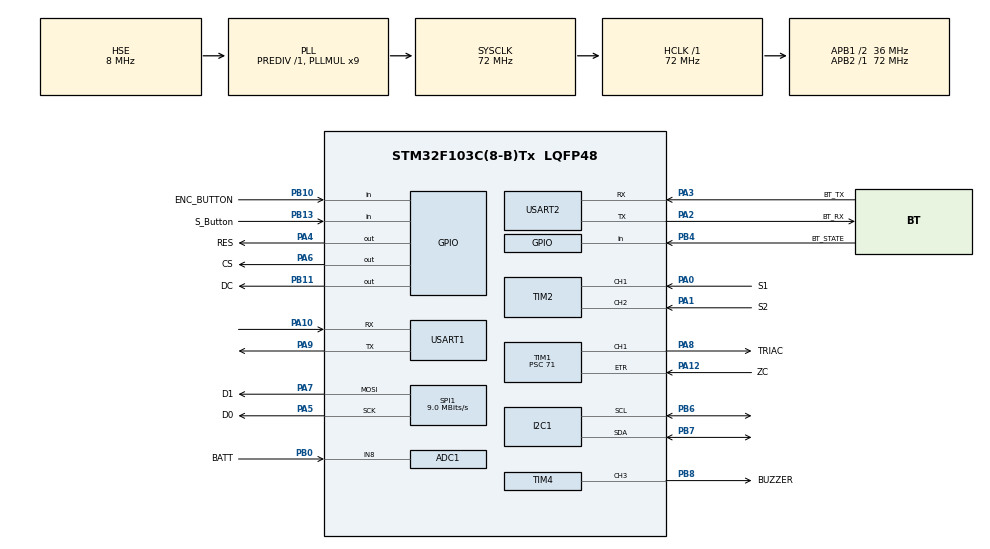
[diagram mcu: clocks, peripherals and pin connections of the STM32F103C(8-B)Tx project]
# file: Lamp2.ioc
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ADC1.Channel-0\#ChannelRegularConversion=ADC_CHANNEL_8
ADC1.NbrOfConversionFlag=1
ADC1.Rank-0\#ChannelRegularConversion=1
ADC1.SamplingTime-0\#ChannelRegularConversion=ADC_SAMPLETIME_239CYCLES_5
ADC1.master=1
Dma.Request0=SPI1_TX
Dma.Request1=USART2_RX
Dma.Request2=USART2_TX
Dma.SPI1_TX.0.Direction=DMA_MEMORY_TO_PERIPH
Dma.SPI1_TX.0.Instance=DMA1_Channel3
Dma.SPI1_TX.0.MemDataAlignment=DMA_MDATAALIGN_BYTE
Dma.SPI1_TX.0.MemInc=DMA_MINC_ENABLE
Dma.SPI1_TX.0.Mode=DMA_NORMAL
Dma.SPI1_TX.0.PeriphDataAlignment=DMA_PDATAALIGN_BYTE
Dma.SPI1_TX.0.PeriphInc=DMA_PINC_DISABLE
Dma.SPI1_TX.0.Priority=DMA_PRIORITY_LOW
Dma.USART2_RX.1.Direction=DMA_PERIPH_TO_MEMORY
Dma.USART2_RX.1.Instance=DMA1_Channel6
Dma.USART2_RX.1.MemDataAlignment=DMA_MDATAALIGN_BYTE
Dma.USART2_RX.1.MemInc=DMA_MINC_ENABLE
Dma.USART2_RX.1.Mode=DMA_NORMAL
Dma.USART2_RX.1.PeriphDataAlignment=DMA_PDATAALIGN_BYTE
Dma.USART2_RX.1.PeriphInc=DMA_PINC_DISABLE
Dma.USART2_RX.1.Priority=DMA_PRIORITY_MEDIUM
Dma.USART2_TX.2.Direction=DMA_MEMORY_TO_PERIPH
Dma.USART2_TX.2.Instance=DMA1_Channel7
Dma.USART2_TX.2.MemDataAlignment=DMA_MDATAALIGN_BYTE
Dma.USART2_TX.2.MemInc=DMA_MINC_ENABLE
Dma.USART2_TX.2.Mode=DMA_NORMAL
Dma.USART2_TX.2.PeriphDataAlignment=DMA_PDATAALIGN_BYTE
Dma.USART2_TX.2.PeriphInc=DMA_PINC_DISABLE
Dma.USART2_TX.2.Priority=DMA_PRIORITY_LOW
FREERTOS.Tasks01=GUITask,0,256,StartGUITask,Default,NULL,Dynamic,NULL,NULL;MusicTask,2,128,StartMusicTask,Default,NULL,Dynamic,NULL,NULL;AlarmTask,0,128,StartAlarmTask,Default,NULL,Dynamic,NULL,NULL;CommTask,-2,600,StartCommTask,Default,NULL,Dynamic,NULL,NULL;InputTask,1,128,StartInputTask,Default,NULL,Dynamic,NULL,NULL;FaderTask,3,128,StartFaderTask,Default,NULL,Dynamic,NULL,NULL
FREERTOS.configTOTAL_HEAP_SIZE=7000
FREERTOS.configUSE_NEWLIB_REENTRANT=1
Mcu.Family=STM32F1
Mcu.Name=STM32F103C(8-B)Tx
Mcu.Package=LQFP48
NVIC.DMA1_Channel3_IRQn=true\:5\:0\:false\:false\:true\:true\:false\:true\:true
NVIC.DMA1_Channel6_IRQn=true\:5\:0\:false\:false\:true\:true\:false\:true\:true
NVIC.DMA1_Channel7_IRQn=true\:5\:0\:false\:false\:true\:true\:false\:true\:true
NVIC.PriorityGroup=NVIC_PRIORITYGROUP_4
NVIC.TIM3_IRQn=true\:15\:0\:false\:false\:true\:false\:false\:true\:true
NVIC.TimeBase=TIM3_IRQn
NVIC.TimeBaseIP=TIM3
NVIC.USART2_IRQn=true\:5\:0\:false\:false\:true\:true\:false\:true\:true
PA0-WKUP.GPIO_Label=S1
PA0-WKUP.Signal=S_TIM2_CH1_ETR
PA1.GPIO_Label=S2
PA1.Signal=S_TIM2_CH2
PA10.Mode=Asynchronous
PA10.Signal=USART1_RX
PA12.GPIO_Label=ZC
PA12.Signal=S_TIM1_ETR
PA2.GPIO_Label=BT_RX
PA2.Mode=Asynchronous
PA2.Signal=USART2_TX
PA3.GPIO_Label=BT_TX
PA3.Mode=Asynchronous
PA3.Signal=USART2_RX
PA4.GPIO_Label=RES
PA4.Signal=GPIO_Output
PA5.GPIO_Label=D0
PA5.Mode=TX_Only_Simplex_Unidirect_Master
PA5.Signal=SPI1_SCK
PA6.GPIO_Label=CS
PA6.Signal=GPIO_Output
PA7.GPIO_Label=D1
PA7.Mode=TX_Only_Simplex_Unidirect_Master
PA7.Signal=SPI1_MOSI
PA8.GPIO_Label=TRIAC
PA8.GPIO_Speed=GPIO_SPEED_FREQ_HIGH
PA8.Signal=S_TIM1_CH1
PA9.Mode=Asynchronous
PA9.Signal=USART1_TX
PB0.GPIO_Label=BATT
PB0.Signal=ADCx_IN8
PB10.GPIO_Label=ENC_BUTTON
PB10.Signal=GPIO_Input
PB11.GPIO_Label=DC
PB11.Signal=GPIO_Output
PB13.GPIO_Label=S_Button
PB13.GPIO_PuPd=GPIO_PULLDOWN
PB13.Signal=GPIO_Input
PB4.GPIO_Label=BT_STATE
PB4.GPIO_PuPd=GPIO_PULLDOWN
PB4.Signal=GPIO_Input
PB6.Mode=I2C
PB6.Signal=I2C1_SCL
PB7.Mode=I2C
PB7.Signal=I2C1_SDA
PB8.GPIO_Label=BUZZER
PB8.Signal=S_TIM4_CH3
PD0-OSC_IN.Mode=HSE-External-Oscillator
PD0-OSC_IN.Signal=RCC_OSC_IN
PD1-OSC_OUT.Mode=HSE-External-Oscillator
PD1-OSC_OUT.Signal=RCC_OSC_OUT
ProjectManager.HeapSize=0x800
ProjectManager.StackSize=0x800
ProjectManager.TargetToolchain=STM32CubeIDE
RCC.ADCPresc=RCC_ADCPCLK2_DIV6
RCC.AHBFreq_Value=72000000
RCC.APB1CLKDivider=RCC_HCLK_DIV2
RCC.APB1Freq_Value=36000000
RCC.APB1TimFreq_Value=72000000
RCC.APB2Freq_Value=72000000
RCC.APB2TimFreq_Value=72000000
RCC.HCLKFreq_Value=72000000
RCC.PLLMUL=RCC_PLL_MUL9
RCC.PLLSourceVirtual=RCC_PLLSOURCE_HSE
RCC.SYSCLKFreq_VALUE=72000000
RCC.SYSCLKSource=RCC_SYSCLKSOURCE_PLLCLK
RCC.USBFreq_Value=72000000
SH.ADCx_IN8.0=ADC1_IN8,IN8
SH.S_TIM1_CH1.0=TIM1_CH1,PWM Generation1 CH1
SH.S_TIM1_ETR.0=TIM1_ETR,TriggerSource_ETR
SH.S_TIM2_CH1_ETR.0=TIM2_CH1,Encoder_Interface
SH.S_TIM2_CH2.0=TIM2_CH2,Encoder_Interface
SH.S_TIM4_CH3.0=TIM4_CH3,PWM Generation3 CH3
SPI1.BaudRatePrescaler=SPI_BAUDRATEPRESCALER_8
SPI1.CalculateBaudRate=9.0 MBits/s
SPI1.Direction=SPI_DIRECTION_2LINES
SPI1.Mode=SPI_MODE_MASTER
SPI1.VirtualType=VM_MASTER
TIM1.AutoReloadPreload=TIM_AUTORELOAD_PRELOAD_ENABLE
TIM1.Channel-PWM\ Generation1\ CH1=TIM_CHANNEL_1
TIM1.OCMode_PWM-PWM\ Generation1\ CH1=TIM_OCMODE_PWM2
TIM1.Period=9500
TIM1.Prescaler=71
TIM1.Pulse-PWM\ Generation1\ CH1=9000
TIM1.Slave_TriggerFilter=15
TIM1.Slave_TriggerPolarity=TIM_TRIGGERPOLARITY_NONINVERTED
TIM2.EncoderMode=TIM_ENCODERMODE_TI12
TIM2.IC1Filter=10
TIM4.Channel-PWM\ Generation3\ CH3=TIM_CHANNEL_3
TIM4.Period=1000
TIM4.Prescaler=71
USART1.VirtualMode=VM_ASYNC
USART2.VirtualMode=VM_ASYNC
VP_FREERTOS_VS_CMSIS_V1.Mode=CMSIS_V1
VP_SYS_VS_ND.Mode=No_Debug
VP_SYS_VS_tim3.Mode=TIM3
VP_TIM1_VS_ClockSourceINT.Mode=Internal
VP_TIM1_VS_ControllerModeTrigger.Mode=Trigger Mode
VP_TIM1_VS_OPM.Mode=OPM_bit
VP_TIM4_VS_ClockSourceINT.Mode=Internal
board=custom

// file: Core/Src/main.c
/* USER CODE BEGIN Header */
/**
 ******************************************************************************
 * @file           : main.c
 * @brief          : Main program body
 ******************************************************************************
 * @attention
 *
 * Copyright (c) 2025 STMicroelectronics.
 * All rights reserved.
 *
 * This software is licensed under terms that can be found in the LICENSE file
 * in the root directory of this software component.
 * If no LICENSE file comes with this software, it is provided AS-IS.
 *
 ******************************************************************************
 */
/* USER CODE END Header */
#include "main.h"
#include "cmsis_os.h"
#include "adc.h"
#include "dma.h"
#include "i2c.h"
#include "spi.h"
#include "tim.h"
#include "usart.h"
#include "gpio.h"

/* USER CODE BEGIN Includes */
#include <stdio.h>
#include "app_state.h"
#include "ds3231.h"
#include "dimmer.h"
/* USER CODE END Includes */

void SystemClock_Config(void);
void MX_FREERTOS_Init(void);

/* USER CODE BEGIN 0 */

int _write(int file, char *ptr, int len) {
	HAL_UART_Transmit(&huart1, (uint8_t*) ptr, len, 1000);
	return len;
}

/* USER CODE END 0 */

int main(void)
{

  /* MCU Configuration--------------------------------------------------------*/

  /* Reset of all peripherals, Initializes the Flash interface and the Systick. */
  HAL_Init();

  /* Configure the system clock */
  SystemClock_Config();

  /* Initialize all configured peripherals */
  MX_GPIO_Init();
  MX_DMA_Init();
  MX_I2C1_Init();
  MX_SPI1_Init();
  MX_TIM1_Init();
  MX_TIM2_Init();
  MX_TIM4_Init();
  MX_USART2_UART_Init();
  MX_ADC1_Init();
  MX_USART1_UART_Init();
  /* USER CODE BEGIN 2 */
	printf("System Reset!\r\n");
	printf("Debug UART initialized at 115200 baud.\r\n");
	AppState_Init();
	Dimmer_Init();
	Dimmer_SetValue(AppState.brightness);
	if (DS3231_Init(&hi2c1)) {
		DS3231_GetTime((RTC_Time_t*) &AppState.now);
	}

  /* USER CODE END 2 */

  /* Call init function for freertos objects (in cmsis_os2.c) */
  MX_FREERTOS_Init();

  /* Start scheduler */
  osKernelStart();

  /* We should never get here as control is now taken by the scheduler */

  /* Infinite loop */
	while (1) {

	}
}

void SystemClock_Config(void)
{
  RCC_OscInitTypeDef RCC_OscInitStruct = {0};
  RCC_ClkInitTypeDef RCC_ClkInitStruct = {0};
  RCC_PeriphCLKInitTypeDef PeriphClkInit = {0};

  /** Initializes the RCC Oscillators according to the specified parameters
  * in the RCC_OscInitTypeDef structure.
  */
  RCC_OscInitStruct.OscillatorType = RCC_OSCILLATORTYPE_HSE;
  RCC_OscInitStruct.HSEState = RCC_HSE_ON;
  RCC_OscInitStruct.HSEPredivValue = RCC_HSE_PREDIV_DIV1;
  RCC_OscInitStruct.HSIState = RCC_HSI_ON;
  RCC_OscInitStruct.PLL.PLLState = RCC_PLL_ON;
  RCC_OscInitStruct.PLL.PLLSource = RCC_PLLSOURCE_HSE;
  RCC_OscInitStruct.PLL.PLLMUL = RCC_PLL_MUL9;
  if (HAL_RCC_OscConfig(&RCC_OscInitStruct) != HAL_OK)
  {
    Error_Handler();
  }

  /** Initializes the CPU, AHB and APB buses clocks
  */
  RCC_ClkInitStruct.ClockType = RCC_CLOCKTYPE_HCLK|RCC_CLOCKTYPE_SYSCLK
                              |RCC_CLOCKTYPE_PCLK1|RCC_CLOCKTYPE_PCLK2;
  RCC_ClkInitStruct.SYSCLKSource = RCC_SYSCLKSOURCE_PLLCLK;
  RCC_ClkInitStruct.AHBCLKDivider = RCC_SYSCLK_DIV1;
  RCC_ClkInitStruct.APB1CLKDivider = RCC_HCLK_DIV2;
  RCC_ClkInitStruct.APB2CLKDivider = RCC_HCLK_DIV1;

  if (HAL_RCC_ClockConfig(&RCC_ClkInitStruct, FLASH_LATENCY_2) != HAL_OK)
  {
    Error_Handler();
  }
  PeriphClkInit.PeriphClockSelection = RCC_PERIPHCLK_ADC;
  PeriphClkInit.AdcClockSelection = RCC_ADCPCLK2_DIV6;
  if (HAL_RCCEx_PeriphCLKConfig(&PeriphClkInit) != HAL_OK)
  {
    Error_Handler();
  }
}

void HAL_TIM_PeriodElapsedCallback(TIM_HandleTypeDef *htim)
{
  if (htim->Instance == TIM3)
  {
    HAL_IncTick();
  }
}

void Error_Handler(void)
{
	__disable_irq();
	while (1) {
	}
}

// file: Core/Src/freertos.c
/* USER CODE BEGIN Header */
/**
 ******************************************************************************
 * File Name          : freertos.c
 * Description        : Code for freertos applications
 ******************************************************************************
 * @attention
 *
 * Copyright (c) 2025 STMicroelectronics.
 * All rights reserved.
 *
 * This software is licensed under terms that can be found in the LICENSE file
 * in the root directory of this software component.
 * If no LICENSE file comes with this software, it is provided AS-IS.
 *
 ******************************************************************************
 */
/* USER CODE END Header */

#include "FreeRTOS.h"
#include "task.h"
#include "main.h"
#include "cmsis_os.h"

/* USER CODE BEGIN Includes */
#include <stdlib.h>
#include <stdbool.h>
#include "tim.h"
#include "gui.h"
#include "app_state.h"
#include "command_parser.h"
#include "bluetooth.h"
#include "ds3231.h"
#include "music.h"
/* USER CODE END Includes */

/* USER CODE BEGIN PTD */
extern TIM_HandleTypeDef htim2;
/* USER CODE END PTD */

/* USER CODE BEGIN PD */
#define DEBOUNCE_DELAY 100
/* USER CODE END PD */

/* USER CODE BEGIN Variables */
static uint32_t last_counter_value = 0;
static uint32_t last_btn_press_time = 0;
/* USER CODE END Variables */
osThreadId GUITaskHandle;
osThreadId MusicTaskHandle;
osThreadId AlarmTaskHandle;
osThreadId CommTaskHandle;
osThreadId InputTaskHandle;
osThreadId FaderTaskHandle;

void StartGUITask(void const *argument);
void StartMusicTask(void const *argument);
void StartAlarmTask(void const *argument);
void StartCommTask(void const *argument);
void StartInputTask(void const *argument);
void StartFaderTask(void const *argument);

void MX_FREERTOS_Init(void); /* (MISRA C 2004 rule 8.1) */

/* GetIdleTaskMemory prototype (linked to static allocation support) */
void vApplicationGetIdleTaskMemory(StaticTask_t **ppxIdleTaskTCBBuffer,
		StackType_t **ppxIdleTaskStackBuffer, uint32_t *pulIdleTaskStackSize);

/* USER CODE BEGIN GET_IDLE_TASK_MEMORY */
static StaticTask_t xIdleTaskTCBBuffer;
static StackType_t xIdleStack[configMINIMAL_STACK_SIZE];

void vApplicationGetIdleTaskMemory(StaticTask_t **ppxIdleTaskTCBBuffer,
		StackType_t **ppxIdleTaskStackBuffer, uint32_t *pulIdleTaskStackSize) {
	*ppxIdleTaskTCBBuffer = &xIdleTaskTCBBuffer;
	*ppxIdleTaskStackBuffer = &xIdleStack[0];
	*pulIdleTaskStackSize = configMINIMAL_STACK_SIZE;
	/* place for user code */
}
/* USER CODE END GET_IDLE_TASK_MEMORY */

void MX_FREERTOS_Init(void) {

	/* Create the thread(s) */
	/* definition and creation of GUITask */
	osThreadDef(GUITask, StartGUITask, osPriorityNormal, 0, 256);
	GUITaskHandle = osThreadCreate(osThread(GUITask), NULL);

	/* definition and creation of MusicTask */
	osThreadDef(MusicTask, StartMusicTask, osPriorityHigh, 0, 128);
	MusicTaskHandle = osThreadCreate(osThread(MusicTask), NULL);

	/* definition and creation of AlarmTask */
	osThreadDef(AlarmTask, StartAlarmTask, osPriorityNormal, 0, 128);
	AlarmTaskHandle = osThreadCreate(osThread(AlarmTask), NULL);

	/* definition and creation of CommTask */
	osThreadDef(CommTask, StartCommTask, osPriorityLow, 0, 600);
	CommTaskHandle = osThreadCreate(osThread(CommTask), NULL);

	/* definition and creation of InputTask */
	osThreadDef(InputTask, StartInputTask, osPriorityAboveNormal, 0, 128);
	InputTaskHandle = osThreadCreate(osThread(InputTask), NULL);

	/* definition and creation of FaderTask */
	osThreadDef(FaderTask, StartFaderTask, osPriorityRealtime, 0, 128);
	FaderTaskHandle = osThreadCreate(osThread(FaderTask), NULL);

}

void StartGUITask(void const *argument) {
	/* USER CODE BEGIN StartGUITask */
	GUI_Init();
	/* Infinite loop */
	for (;;) {
		GUI_Update();
		osDelay(100);
	}
	/* Infinite loop */
	/* USER CODE END StartGUITask */
}

void StartMusicTask(void const *argument) {
	/* USER CODE BEGIN StartMusicTask */
	osDelay(500);
	Music_Init();
	/* Infinite loop */
	for (;;) {
		if (AppState.is_alarm_ringing) {
			bool enable_fade = !AppState.is_preview_mode;
			Music_PlayAlarmLoop(enable_fade);
		} else {
			Music_Stop();
			osDelay(200);
		}
	}
	/* USER CODE END StartMusicTask */
}

void StartAlarmTask(void const *argument) {
	/* USER CODE BEGIN StartAlarmTask */
	osDelay(100);
	uint8_t batt_check_counter = 0;
	/* Infinite loop */
	for (;;) {
		DS3231_GetTime((RTC_Time_t*) &AppState.now);
		AppState_CheckAlarms();
		batt_check_counter++;
		if (batt_check_counter >= 5) {
			AppState_UpdateBatteryVoltage();
			batt_check_counter = 0;
		}
		osDelay(200);
	}
	/* USER CODE END StartAlarmTask */
}

void StartCommTask(void const *argument) {
	/* USER CODE BEGIN StartCommTask */
	/* Infinite loop */
	Bluetooth_Init();

	bool is_bt_connected = false;
	uint32_t last_pulse_width = 200;
	uint32_t safety_margin = 100;

	uint32_t high_start_time = 0;
	bool synced = false;

	for (;;) {
		if (bt_command_received) {
			bt_command_received = 0;
			CLI_ProcessCommand(bt_command_buffer);
			memset(bt_command_buffer, 0, sizeof(bt_command_buffer));
		}

		bool pin_high = (HAL_GPIO_ReadPin(GPIOB, GPIO_PIN_4) == GPIO_PIN_SET);
		uint32_t now = HAL_GetTick();

		if (pin_high) {
			if (high_start_time == 0) {
				high_start_time = now;
			} else {
				uint32_t duration = now - high_start_time;
				uint32_t trigger_limit = last_pulse_width + safety_margin;

				if (duration > trigger_limit) {
					if (!is_bt_connected) {
						if (synced || duration > 1000) {
							is_bt_connected = true;
							osDelay(80);
							char auto_cmd[] = "hello";
							CLI_ProcessCommand(auto_cmd);
						}
					}
				}
			}
		} else {
			if (!synced)
				synced = true;

			if (high_start_time != 0) {
				uint32_t measured_len = now - high_start_time;
				high_start_time = 0;

				if (is_bt_connected) {
					is_bt_connected = false;
					safety_margin = 100;
				} else {
					if (measured_len > 100 && measured_len < 500) {
						last_pulse_width = measured_len;
						safety_margin = 35;
					}
				}
			}
		}

		osDelay(15);
	}
	/* USER CODE END StartCommTask */
}

void StartInputTask(void const *argument) {
	/* USER CODE BEGIN StartInputTask */
	HAL_TIM_Encoder_Start(&htim2, TIM_CHANNEL_ALL);
	__HAL_TIM_SET_COUNTER(&htim2, 32000);
	last_counter_value = 32000;
	static uint32_t btn_press_start = 0;
	static bool long_press_handled = false;
	const uint32_t LONG_PRESS_MS = 600;

	for (;;) {
		uint32_t current_counter = __HAL_TIM_GET_COUNTER(&htim2);
		int8_t enc_diff = 0;
		int16_t diff = (int16_t) (current_counter - last_counter_value);

		if (abs(diff) >= 4) {
			if (diff > 0)
				enc_diff = -1;
			else
				enc_diff = 1;

			last_counter_value = current_counter;
		}

		uint8_t btn_event = 0;

		if (HAL_GPIO_ReadPin(GPIOB, GPIO_PIN_10) == GPIO_PIN_RESET) {
			if (btn_press_start == 0) {
				btn_press_start = HAL_GetTick();
				long_press_handled = false;
			} else {
				if (!long_press_handled
						&& (HAL_GetTick() - btn_press_start > LONG_PRESS_MS)) {
					btn_event = 5;
					long_press_handled = true;
				}
			}
		} else {
			if (btn_press_start != 0) {
				if (!long_press_handled
						&& (HAL_GetTick() - btn_press_start > DEBOUNCE_DELAY)) {
					btn_event = 1;
				}
				btn_press_start = 0;
				long_press_handled = false;
			}
		}

		if (HAL_GPIO_ReadPin(GPIOB, GPIO_PIN_13) == GPIO_PIN_SET) {
			if (HAL_GetTick() - last_btn_press_time > DEBOUNCE_DELAY) {
				btn_event = 2;
				last_btn_press_time = HAL_GetTick();
				AppState.is_alarm_ringing = false;
				AppState.is_preview_mode = false;
			}
		}

		if (enc_diff != 0 || btn_event != 0) {
			GUI_HandleInput(enc_diff, btn_event);
		}

		osDelay(10);
	}
	/* USER CODE END StartInputTask */
}

void StartFaderTask(void const *argument) {
	/* USER CODE BEGIN StartFaderTask */
	/* Infinite loop */
	for (;;) {
		if (AppState.brightness != AppState.target_brightness) {
			AppState_ProcessFader();
		}
		osDelay(15 * AppState.fade_speed);
	}
	/* USER CODE END StartFaderTask */
}
